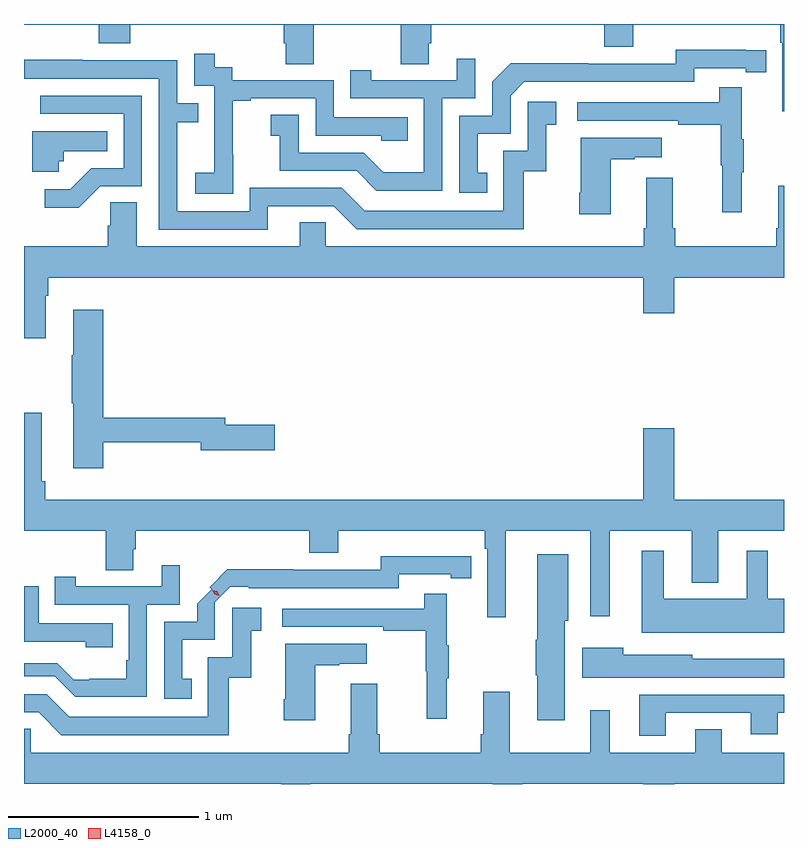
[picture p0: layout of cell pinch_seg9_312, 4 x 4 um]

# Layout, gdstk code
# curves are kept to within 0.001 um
import gdstk
lib = gdstk.Library(unit=1e-6, precision=1e-09)
def P(c, l, *ps):  # polygons
    for p in ps: c.add(gdstk.Polygon(p, *l))
L2000_40 = (2000, 40)
L4158_0 = (4158, 0)

pinch_seg9_312 = lib.new_cell('pinch_seg9_312')
P(pinch_seg9_312, L2000_40, [(573.341,1183.103),(569.341,1183.103),(569.341,1183.1),(569.735,1183.1),(569.735,1183.001),(569.9,1183.001),(569.9,1183.1),(570.707,1183.1),(570.707,1183.002),(570.719,1183.002),(570.719,1182.892),(570.867,1182.892),(570.867,1183.1),(571.324,1183.1),(571.324,1182.892),(571.471,1182.892),(571.471,1183.002),(571.484,1183.002),(571.484,1183.1),(572.396,1183.1),(572.396,1182.983),(572.548,1182.983),(572.548,1183.1),(573.32,1183.1),(573.32,1183.004),(573.333,1183.004),(573.333,1182.645),(573.341,1182.645)],
  [(571.778,1182.321),(571.729,1182.321),(571.729,1182.525),(571.902,1182.525),(571.902,1182.726),(571.974,1182.798),(572.868,1182.798),(572.868,1182.87),(573.14,1182.87),(573.14,1182.85),(573.248,1182.85),(573.248,1182.966),(572.772,1182.967),(572.772,1182.894),(572.312,1182.894),(572.312,1182.896),(571.904,1182.896),(571.806,1182.798),(571.806,1182.621),(571.632,1182.621),(571.632,1182.216),(571.778,1182.216)],
  [(570.441,1182.415),(570.44,1182.415),(570.44,1182.699),(570.535,1182.699),(570.535,1182.711),(570.876,1182.711),(570.876,1182.516),(571.221,1182.516),(571.221,1182.489),(571.361,1182.489),(571.361,1182.612),(570.972,1182.612),(570.972,1182.807),(570.438,1182.807),(570.438,1182.876),(570.346,1182.876),(570.346,1182.946),(570.237,1182.946),(570.237,1182.777),(570.342,1182.777),(570.342,1182.548),(570.341,1182.548),(570.341,1182.319),(570.243,1182.319),(570.243,1182.209),(570.441,1182.209)],
  [(571.542,1182.711),(571.716,1182.711),(571.716,1182.919),(571.619,1182.919),(571.619,1182.807),(571.168,1182.807),(571.168,1182.859),(571.057,1182.859),(571.057,1182.711),(571.446,1182.711),(571.446,1182.322),(571.232,1182.322),(571.128,1182.426),(570.786,1182.426),(570.786,1182.625),(570.639,1182.625),(570.639,1182.515),(570.688,1182.515),(570.688,1182.33),(571.091,1182.33),(571.196,1182.225),(571.542,1182.225)],
  [(570.625,1182.144),(570.972,1182.144),(571.092,1182.024),(571.972,1182.024),(571.972,1182.327),(572.09,1182.327),(572.09,1182.573),(572.143,1182.573),(572.143,1182.694),(571.992,1182.694),(571.992,1182.435),(571.863,1182.435),(571.863,1182.12),(571.134,1182.12),(571.014,1182.24),(570.528,1182.24),(570.528,1182.117),(570.147,1182.117),(570.147,1182.586),(570.257,1182.586),(570.257,1182.687),(570.147,1182.687),(570.147,1182.912),(569.651,1182.912),(569.651,1182.914),(569.341,1182.914),(569.341,1182.816),(570.051,1182.816),(570.051,1182.021),(570.625,1182.021)],
  [(573.119,1182.323),(573.13,1182.323),(573.13,1182.497),(573.119,1182.497),(573.119,1182.769),(573.001,1182.769),(573.001,1182.69),(572.253,1182.69),(572.253,1182.594),(572.785,1182.594),(572.785,1182.574),(573.009,1182.574),(573.009,1182.36),(573.016,1182.36),(573.016,1182.111),(573.119,1182.111)],
  [(569.742,1182.249),(569.961,1182.249),(569.961,1182.726),(569.427,1182.726),(569.427,1182.63),(569.865,1182.63),(569.865,1182.345),(569.696,1182.345),(569.585,1182.234),(569.451,1182.234),(569.451,1182.137),(569.629,1182.137)],
  [(569.523,1182.381),(569.55,1182.381),(569.55,1182.434),(569.78,1182.434),(569.78,1182.538),(569.384,1182.538),(569.384,1182.326),(569.523,1182.326)],
  [(572.428,1182.391),(572.555,1182.391),(572.555,1182.401),(572.698,1182.401),(572.698,1182.505),(572.27,1182.505),(572.27,1182.214),(572.263,1182.214),(572.263,1182.102),(572.428,1182.102)],
  [(569.341,1181.448),(569.455,1181.448),(569.455,1181.672),(569.468,1181.672),(569.468,1181.768),(572.6,1181.768),(572.6,1181.58),(572.764,1181.58),(572.764,1181.768),(573.341,1181.768),(573.341,1182.253),(573.311,1182.253),(573.311,1182.028),(573.299,1182.028),(573.299,1181.932),(572.768,1181.932),(572.768,1182.028),(572.755,1182.028),(572.755,1182.295),(572.615,1182.295),(572.615,1182.028),(572.603,1182.028),(572.603,1181.932),(570.93,1181.932),(570.93,1182.059),(570.791,1182.059),(570.791,1181.932),(569.935,1181.932),(569.935,1182.164),(569.796,1182.164),(569.796,1182.041),(569.783,1182.041),(569.783,1181.932),(569.341,1181.932)],
  [(569.759,1180.902),(570.272,1180.902),(570.272,1180.859),(570.661,1180.859),(570.661,1180.994),(570.4,1180.994),(570.4,1181.03),(569.759,1181.03),(569.759,1181.599),(569.6,1181.599),(569.6,1181.36),(569.593,1181.36),(569.593,1181.107),(569.6,1181.107),(569.6,1180.764),(569.759,1180.764)],
  [(569.453,1180.696),(569.434,1180.696),(569.434,1181.056),(569.341,1181.056),(569.341,1180.436),(569.77,1180.436),(569.77,1180.228),(569.917,1180.228),(569.917,1180.338),(569.93,1180.338),(569.93,1180.436),(570.842,1180.436),(570.842,1180.319),(570.994,1180.319),(570.994,1180.436),(571.766,1180.436),(571.766,1180.34),(571.779,1180.34),(571.779,1179.981),(571.876,1179.981),(571.876,1180.436),(572.321,1180.436),(572.321,1179.987),(572.425,1179.987),(572.425,1180.436),(572.855,1180.436),(572.855,1180.163),(572.995,1180.163),(572.995,1180.436),(573.341,1180.436),(573.341,1180.6),(572.764,1180.6),(572.764,1180.975),(572.6,1180.975),(572.6,1180.6),(569.453,1180.6)],
  [(573.341,1180.078),(573.256,1180.078),(573.256,1180.33),(573.146,1180.33),(573.146,1180.078),(572.707,1180.078),(572.707,1180.33),(572.591,1180.33),(572.591,1179.899),(573.341,1179.899)],
  [(572.188,1179.963),(572.206,1179.963),(572.206,1180.312),(572.042,1180.312),(572.042,1179.863),(572.035,1179.863),(572.035,1179.676),(572.042,1179.676),(572.042,1179.438),(572.188,1179.438)],
  [(570.224,1179.657),(570.175,1179.657),(570.175,1179.861),(570.345,1179.861),(570.345,1180.059),(570.426,1180.14),(570.523,1180.14),(570.523,1180.134),(571.314,1180.134),(571.314,1180.206),(571.586,1180.206),(571.586,1180.186),(571.694,1180.186),(571.694,1180.302),(571.218,1180.303),(571.218,1180.23),(570.758,1180.23),(570.758,1180.232),(570.412,1180.232),(570.319,1180.139),(570.33,1180.129),(570.252,1180.051),(570.252,1179.957),(570.078,1179.957),(570.078,1179.552),(570.224,1179.552)],
  [(569.988,1180.047),(570.162,1180.047),(570.162,1180.255),(570.065,1180.255),(570.065,1180.143),(569.614,1180.143),(569.614,1180.195),(569.503,1180.195),(569.503,1180.047),(569.892,1180.047),(569.892,1179.754),(569.88,1179.754),(569.88,1179.658),(569.684,1179.658),(569.684,1179.651),(569.603,1179.651),(569.517,1179.738),(569.341,1179.738),(569.341,1179.669),(569.502,1179.669),(569.61,1179.561),(569.988,1179.561)],
  [(569.807,1179.948),(569.418,1179.948),(569.418,1180.143),(569.341,1180.143),(569.341,1179.852),(569.667,1179.852),(569.667,1179.824),(569.807,1179.824)],
  [(571.565,1179.659),(571.576,1179.659),(571.576,1179.833),(571.565,1179.833),(571.565,1180.105),(571.447,1180.105),(571.447,1180.026),(570.699,1180.026),(570.699,1179.93),(571.231,1179.93),(571.231,1179.91),(571.455,1179.91),(571.455,1179.696),(571.462,1179.696),(571.462,1179.447),(571.565,1179.447)],
  [(570.418,1179.663),(570.536,1179.663),(570.536,1179.909),(570.589,1179.909),(570.589,1180.03),(570.438,1180.03),(570.438,1179.771),(570.309,1179.771),(570.309,1179.456),(569.58,1179.456),(569.46,1179.576),(569.341,1179.576),(569.341,1179.48),(569.418,1179.48),(569.538,1179.36),(570.418,1179.36)],
  [(570.874,1179.727),(571.001,1179.727),(571.001,1179.737),(571.144,1179.737),(571.144,1179.841),(570.716,1179.841),(570.716,1179.55),(570.709,1179.55),(570.709,1179.438),(570.874,1179.438)],
  [(573.341,1179.763),(572.859,1179.763),(572.859,1179.784),(572.494,1179.784),(572.494,1179.82),(572.28,1179.82),(572.28,1179.662),(573.341,1179.662)],
  [(569.376,1179.395),(569.341,1179.395),(569.341,1179.104),(570.695,1179.104),(570.695,1179.103),(570.847,1179.103),(570.847,1179.104),(571.807,1179.104),(571.807,1179.103),(571.964,1179.103),(571.964,1179.104),(572.6,1179.104),(572.6,1179.103),(572.764,1179.103),(572.764,1179.104),(573.341,1179.104),(573.341,1179.268),(573.013,1179.268),(573.013,1179.392),(572.873,1179.392),(572.873,1179.268),(572.425,1179.268),(572.425,1179.49),(572.321,1179.49),(572.321,1179.268),(571.897,1179.268),(571.897,1179.589),(571.757,1179.589),(571.757,1179.364),(571.745,1179.364),(571.745,1179.268),(571.214,1179.268),(571.214,1179.364),(571.201,1179.364),(571.201,1179.631),(571.061,1179.631),(571.061,1179.364),(571.049,1179.364),(571.049,1179.268),(569.376,1179.268)],
  [(572.719,1179.477),(573.167,1179.477),(573.167,1179.365),(573.307,1179.365),(573.307,1179.477),(573.341,1179.477),(573.341,1179.573),(572.579,1179.573),(572.579,1179.357),(572.719,1179.357)])
P(pinch_seg9_312, L4158_0, [(570.368,1180.094),(570.344,1180.101),(570.332,1180.124),(570.332,1180.124),(570.332,1180.124),(570.357,1180.117),(570.369,1180.094),(570.369,1180.094)])

lib.write_gds('pinch_seg9_312.gds')
